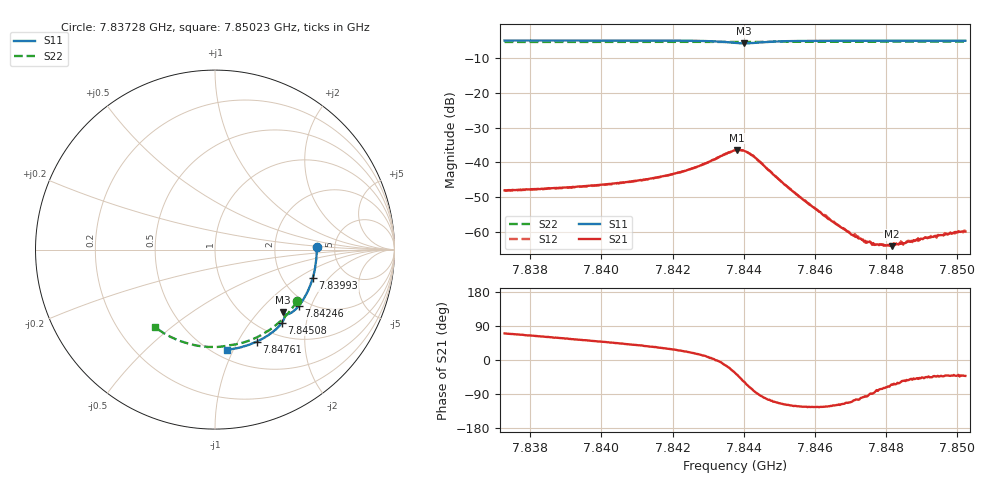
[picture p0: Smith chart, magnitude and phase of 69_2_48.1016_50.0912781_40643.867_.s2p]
#  HZ  S  RI  R  50.00
! Rohde & Schwarz Vector Network Analyzer
! Rohde-Schwarz,ZNB20-2Port,1311601062101988,3.16
! Created: UTC 12/23/2023, 3:41:34 AM
! freq[Hz]  re:S11  im:S11  re:S21  im:S21  re:S12  im:S12  re:S22  im:S22
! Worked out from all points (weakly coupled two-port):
!   401 points, 7.83728 GHz to 7.85023 GHz, reference 50 ohm
!   highest |S21| = -36.42 dB at 7.84382 GHz (marker M1); lowest = -64.1 dB at 7.84816 GHz (marker M2)
!   lowest |S11| = -5.8 dB at 7.84401 GHz (marker M3), VSWR 3.12, Z = 72.3 - j68.7 ohm
!   |S11| at or under -10 dB: nowhere
!   |S22| runs from -5.4 to -5.2 dB; largest |S21 - S12| = 0.00032
!   S11 on the Smith chart (normalised r, x): 7.83728 GHz: 3.60, +0.18; 7.83993 GHz: 2.92, -1.36; 7.84246 GHz: 1.78, -1.64; 7.84508 GHz: 1.25, -1.46; 7.84761 GHz: 0.80, -1.21; 7.85023 GHz: 0.58, -0.94
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7.837278e9  0.5663 0.0166  0.00135 0.00374  0.00136 0.00368  0.4571 -0.2869
7.839448e9  0.5526 -0.127  0.00271 0.00361  0.00268 0.00359  0.3599 -0.4032
7.839933e9  0.5444 -0.1586  0.00313 0.0036  0.00307 0.00352  0.3338 -0.4253
7.841617e9  0.4998 -0.2648  0.00518 0.00331  0.00513 0.00333  0.2341 -0.4882
7.842459e9  0.4655 -0.3152  0.00741 0.00281  0.0073 0.00283  0.1793 -0.5108
7.8433e9  0.4143 -0.357  0.0119 -0.000723  0.0119 -0.000746  0.1222 -0.5265
7.843754e9  0.3818 -0.3571  0.0124 -0.00832  0.0125 -0.00831  0.0918 -0.5313
7.843818e9  0.3793 -0.3549  0.0117 -0.00956  0.0116 -0.00963  0.0876 -0.5318
7.844013e9  0.3786 -0.349  0.00786 -0.0124  0.0079 -0.0122  0.0755 -0.5337
7.844304e9  0.3867 -0.3546  0.00143 -0.0118  0.00149 -0.0118  0.0567 -0.5372
7.845081e9  0.3737 -0.4063  -0.00225 -0.00468  -0.00224 -0.00468  0.00251 -0.5428
7.845923e9  0.3319 -0.4507  -0.00129 -0.00194  -0.0013 -0.00195  -0.0568 -0.5408
7.846409e9  0.3047 -0.4715  -0.000811 -0.00129  -0.000809 -0.0013  -0.0909 -0.5363
7.847024e9  0.2692 -0.4938  -0.000322 -0.000856  -0.000349 -0.000867  -0.1333 -0.5278
7.847186e9  0.2595 -0.4993  -0.000212 -0.000827  -0.000215 -0.000835  -0.1443 -0.5252
7.847348e9  0.2497 -0.5043  -0.00011 -0.000757  -0.000116 -0.000777  -0.1553 -0.5222
7.847607e9  0.234 -0.5121  6.68e-06 -0.000656  5.38e-05 -0.000665  -0.1725 -0.5168
7.84793e9  0.214 -0.5207  0.000184 -0.000632  0.000188 -0.000606  -0.1942 -0.5092
7.848092e9  0.2039 -0.5248  0.000212 -0.000597  0.000256 -0.000623  -0.2046 -0.5052
7.848157e9  0.1998 -0.5263  0.000271 -0.000565  0.000297 -0.000586  -0.209 -0.5037
7.84997e9  0.0829 -0.5566  0.000746 -0.00067  0.000722 -0.000666  -0.3201 -0.4424
7.850229e9  0.0658 -0.5586  0.000757 -0.000682  0.000782 -0.000686  -0.3348 -0.4319
